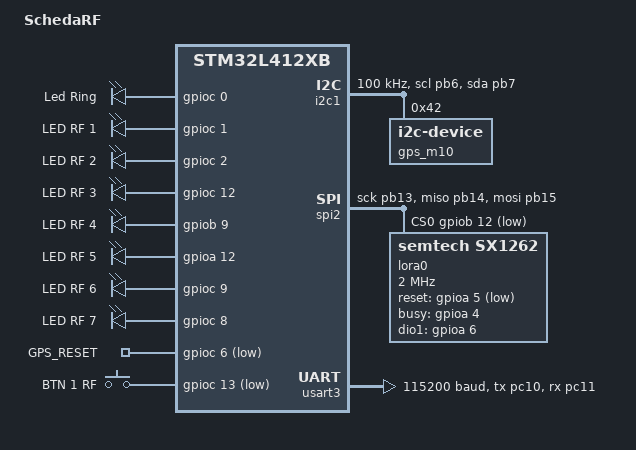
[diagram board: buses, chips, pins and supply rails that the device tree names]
/dts-v1/;
#include <st/l4/stm32l412XB.dtsi>
#include <st/l4/stm32l412rbtxp-pinctrl.dtsi>

#include <zephyr/dt-bindings/led/led.h>
#include <zephyr/dt-bindings/gpio/gpio.h>
#include <dt-bindings/input/input-event-codes.h>
#include <zephyr/dt-bindings/dma/stm32_dma.h>

#include <zephyr/dt-bindings/lora/sx126x.h>

/ {
    model = "SchedaRF";
    compatible = "rf_board";

    chosen {
        zephyr,console = &usart3;
        zephyr,shell-uart = &usart3;
        zephyr,sram = &sram0;
        zephyr,flash = &flash0;
    };

    leds {
        compatible = "gpio-leds";

        led_ring: led_ring {
            gpios = <&gpioc 0 GPIO_ACTIVE_HIGH>;
            label = "Led Ring";
        };
        led_rf_1: led_rf_1 {
                gpios = <&gpioc 1 GPIO_ACTIVE_HIGH>;
                label = "LED RF 1";
        };
        led_rf_2: led_rf_2 {
                gpios = <&gpioc 2 GPIO_ACTIVE_HIGH>;
                label = "LED RF 2";
        };
        led_rf_3: led_rf_3 {
                gpios = <&gpioc 12 GPIO_ACTIVE_HIGH>;
                label = "LED RF 3";
        };
        led_rf_4: led_rf_4 {
                gpios = <&gpiob 9 GPIO_ACTIVE_HIGH>;
                label = "LED RF 4";
        };
        led_rf_5: led_rf_5 {
                gpios = <&gpioa 12 GPIO_ACTIVE_HIGH>;
                label = "LED RF 5";
        };
        led_rf_6: led_rf_6 {
                gpios = <&gpioc 9 GPIO_ACTIVE_HIGH>;
                label = "LED RF 6";
        };
        led_rf_7: led_rf_7 {
                gpios = <&gpioc 8 GPIO_ACTIVE_HIGH>;
                label = "LED RF 7";
        };
        gps_reset: gps_reset {
            gpios = <&gpioc 6 GPIO_ACTIVE_LOW>;
            label = "GPS_RESET";
        };
    };


    buttons {
        compatible = "gpio-keys";
        debounce-interval-ms = <30>;
        user_button: button_0 {
            gpios = <&gpioc 13 (GPIO_ACTIVE_LOW | GPIO_PULL_UP)>;
            label = "BTN 1 RF";
        };
    };

    /* led_strip: led_strip {
        compatible = "worldsemi,ws2812-gpio";
        
        gpios = <&gpiob 8 GPIO_ACTIVE_HIGH>;

        chain-length = <6>;

        color-mapping = <LED_COLOR_ID_GREEN
                        LED_COLOR_ID_RED
                        LED_COLOR_ID_BLUE>;

        delay-t1h = <700>;   
        delay-t1l = <600>;
        delay-t0h = <350>;
        delay-t0l = <800>;
        reset-delay = <8000>;
    }; */

};




&clk_hse {      // fottuto sulla scheda attuale
    clock-frequency = <DT_FREQ_M(48)>;
    status = "disabled";
};

&clk_lse {
    status = "okay";
    driving-capability = <2>;
};

&clk_hsi { status = "okay"; };

&pll {
    status = "okay";
    clocks = <&clk_hsi>;

    div-m = <1>;
    mul-n = <10>;
    div-r = <2>;
};

&rcc {
    status = "okay";

    clocks = <&pll>;

    clock-frequency = <DT_FREQ_M(80)>;
    
    ahb-prescaler = <1>;
    apb1-prescaler = <1>;
    apb2-prescaler = <1>;
};


// Configurazione periferiche


&i2c1 {
    status = "okay";
    pinctrl-0 = <&i2c1_scl_pb6 &i2c1_sda_pb7>;
    pinctrl-names = "default";
    clock-frequency = <I2C_BITRATE_STANDARD>; /* 100 kHz */

    gps_m10: gps_m10@42 {
        compatible = "i2c-device"; /* Usiamo il device I2C generico */
        reg = <0x42>;              /* Indirizzo di default u-blox */
        status = "okay";
    };
};


&spi2 { // Radio LoRa SX1262

    status = "okay";
    pinctrl-0 = <&spi2_sck_pb13 &spi2_miso_pb14 &spi2_mosi_pb15>;
    pinctrl-names = "default";

    cs-gpios = <&gpiob 12 GPIO_ACTIVE_LOW>; // chip select

    //clocks = <>, <>;//TODO: set clock configuration

    //DMA: connected both tx and rx

// Tutorial: https://github.com/zephyrproject-rtos/zephyr/blob/main/samples/drivers/lora/receive/README.rst

    lora0: SX1262@0 {
        compatible = "semtech,sx1262";
        reg = <0>;

        spi-max-frequency = <2000000>; // può essere aumentato almeno a 8MHz

        reset-gpios = <&gpioa 5 GPIO_ACTIVE_LOW>;
        busy-gpios = <&gpioa 4 GPIO_ACTIVE_HIGH>;
        dio1-gpios = <&gpioa 6 GPIO_ACTIVE_HIGH>; //generic interrupt line from lora to mcu

        regulator-ldo;
        dio2-tx-enable;
        dio3-tcxo-voltage = <SX126X_DIO3_TCXO_1V8>; //TODO: perchè questo valore?

		tcxo-power-startup-delay-ms = <5>; //FIXME: frfr non so come influisca @signo-codebase

    };
};

&usart1 { // Seriale per comunicazione con asterics MCU
    //TODO: implement
    status = "disabled";

    pinctrl-0 = <&usart1_tx_pa9 &usart1_rx_pa10>;
    pinctrl-names = "default";

    current-speed = <115200>; //TODO: increase max speed
    //TODO: maybe use clock-frequency to set clock frequency of the peripheral. Non so se devo farlo o meno. non so nemmeno come faccia a sapere il clock corretto. Andrebbe implementato e valutato l'effetto (anche sulle configurazioni già funzionanti)

    //DMA: connected both tx and rx


};

&usart2 { // Seriale per comunicazione ESP32S3
    //TODO: implement
    status = "disabled";
    //PA2 tx
    //PA3 rx
    pinctrl-0 = <&usart2_tx_pa2 &usart2_rx_pa3>;
    pinctrl-names = "default";

    current-speed = <115200>;
};

&usart3 { // Seriale per comunicazione con VCP (debug)
    //TODO: implement
    status = "okay";
    //PC10 tx
    //PC11 rx
    pinctrl-0 = <&usart3_tx_pc10 &usart3_rx_pc11>;
    pinctrl-names = "default";

    //DMA: connected both tx and rx

    current-speed = <115200>;
};

&gpioa {
    status = "okay";
};
&gpiob {
    status = "okay";
};
&gpioc {
    status = "okay";
};

&gpioh {
    status = "okay";
};
